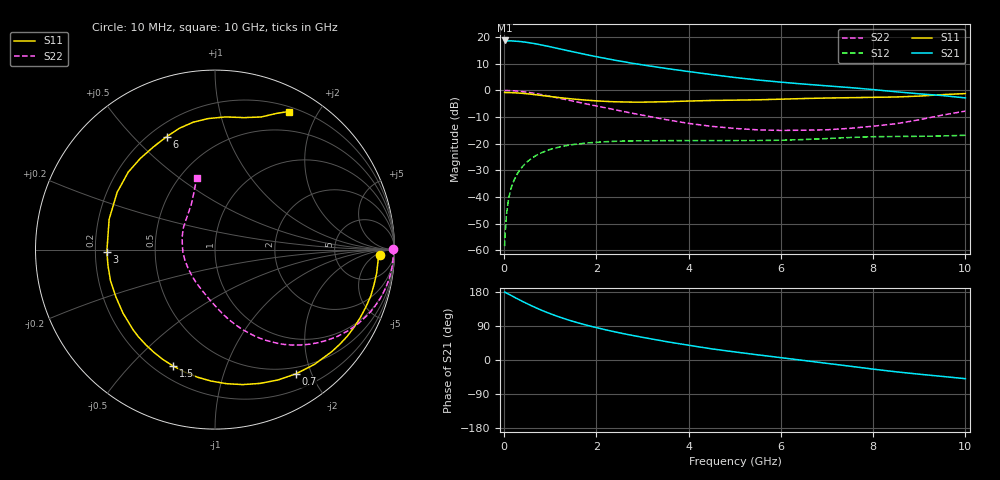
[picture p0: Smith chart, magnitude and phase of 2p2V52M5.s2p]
! (c) 2009  Infineon Technologies AG, Munich
! Infineon Technologies  Discrete & RF Semiconductors
! BFP420
! VCE =  2.5 V,  IC =  2.5 mA
! Common Emitter S-Parameters:  Nov 2009
# GHz  S  MA  R  50
!  f  S11  S21  S12  S22
! GHz  MAG  ANG  MAG  ANG  MAG  ANG  MAG  ANG
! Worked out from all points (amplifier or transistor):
!   46 points, 10 MHz to 10 GHz, reference 50 ohm
!   highest |S21| = 18.7 dB at 10 MHz (marker M1)
!   |S21| within 3 dB of that: start of sweep to 1.164 GHz
!   unconditionally stable (mu >= 1): 3.717 GHz to end of sweep
!   at 300 MHz: K = 0.05, MSG = 24.6 dB, |S12| = -30.9 dB
!   at 1.7 GHz: K = 0.39, MSG = 16.8 dB, |S12| = -19.9 dB
!   at 10 GHz: K = 1.19, MAG = 4.3 dB, |S12| = -16.8 dB
!   lowest NFmin = 0.55 dB at 900 MHz
!   S11 on the Smith chart (normalised r, x): 10 MHz: 21, -8; 700 MHz: 0.41, -1.77; 1.5 GHz: 0.27, -0.67; 3 GHz: 0.25, -0.01; 6 GHz: 0.26, +0.63; 10 GHz: 0.25, +1.64
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0.01  0.9193 -1.8  8.647 179.2  0.0012 55.8  0.9932 0.1
0.02  0.9129 -1.6  8.43 178.9  0.0019 87.5  0.994 -0.9
0.05  0.9106 -4.1  8.471 176.7  0.0047 85.6  0.994 -2.3
0.15  0.9073 -12.5  8.487 170.4  0.0146 83.1  0.9886 -7.2
0.3  0.8937 -25.0  8.326 160.8  0.0286 76.2  0.9687 -14.2
0.45  0.8727 -37.2  8.054 151.6  0.0418 69.3  0.9378 -21.0
0.6  0.8462 -49.1  7.699 142.7  0.0537 62.9  0.8979 -27.4
0.7  0.8261 -56.9  7.44 137.2  0.0608 58.9  0.8681 -31.4
1  0.7678 -78.4  6.58 122.2  0.0782 48.2  0.774 -42.1
1.2  0.7328 -91.7  6.025 113.3  0.0869 42.1  0.7121 -48.3
1.5  0.6891 -109.8  5.287 101.8  0.0966 34.4  0.6275 -56.3
1.7  0.6655 -120.9  4.859 94.8  0.1013 30.0  0.5773 -60.9
2.2  0.6228 -145.5  3.977 79.7  0.1091 20.9  0.4712 -71.0
2.6  0.6076 -163.4  3.439 69.2  0.1123 15.0  0.4008 -78.4
3  0.6027 -178.9  3.011 59.9  0.1137 10.5  0.3432 -85.4
3.5  0.6136 164.0  2.591 48.9  0.1143 5.8  0.2842 -95.4
4.5  0.6482 138.2  1.979 29.4  0.1148 -0.5  0.212 -119.7
5.5  0.6672 120.9  1.569 13.6  0.115 -4.1  0.1822 -145.4
6  0.6846 113.2  1.429 6.2  0.1164 -5.0  0.1778 -159.7
7  0.7201 99.7  1.217 -8.9  0.125 -7.6  0.1829 173.4
8.5  0.7529 77.6  0.942 -31.2  0.1368 -16.9  0.2375 131.5
10  0.8722 61.9  0.724 -49.3  0.144 -22.7  0.4094 104.5
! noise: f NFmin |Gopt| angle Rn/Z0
0.9  0.55  0.41  33  0.2
1.8  1.02  0.24  78  0.16
2.4  1.11  0.26  103  0.15
3  1.28  0.27  140  0.11
4  1.5  0.34  -163  0.1
5  1.85  0.4  -130  0.26
6  2.56  0.5  -109  0.35
